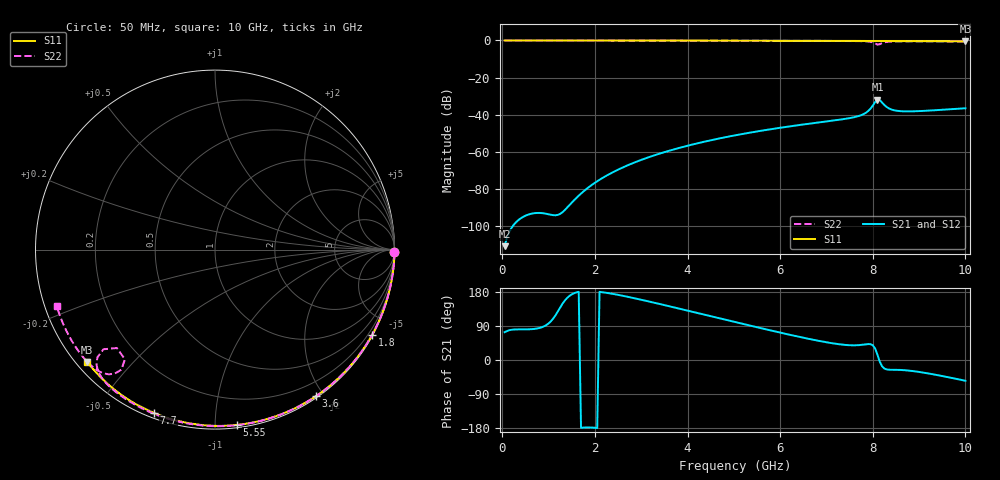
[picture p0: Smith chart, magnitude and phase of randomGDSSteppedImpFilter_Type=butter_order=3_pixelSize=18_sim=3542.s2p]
! freq	dB(S11)	phase(S11)	dB(S12)	phase(S12)
!  dB(S21)	phase(S21)	dB(S22)	phase(S22)
!S-par simulation data
#  GHz  S  DB  R 50
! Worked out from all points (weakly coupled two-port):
!   200 points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, 50 MHz to 10 GHz, reference 50 ohm
!   highest |S21| = -31.85 dB at 8.1 GHz (marker M1); lowest = -110.7 dB at 50 MHz (marker M2)
!   lowest |S11| = -0.5 dB at 10 GHz (marker M3), VSWR 37.18, Z = 1.54 - j18.9 ohm
!   |S11| at or under -10 dB: nowhere
!   |S22| runs from -2.2 to 0.0 dB; largest |S21 - S12| = 0
!   S11 on the Smith chart (normalised r, x): 50 MHz: open; 1.8 GHz: 0.03, -3.95; 3.6 GHz: 0.02, -1.90; 5.55 GHz: 0.02, -1.13; 7.7 GHz: 0.02, -0.69; 10 GHz: 0.03, -0.38
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0.05  -0.00 -0.8  -110.74 73.4  -110.74 73.4  -0.00 -0.9
0.85  -0.02 -13.6  -92.93 86.2  -92.93 86.2  -0.02 -15.5
1.75  -0.04 -27.7  -81.32 -178.3  -81.32 -178.3  -0.04 -31.7
1.8  -0.04 -28.4  -80.29 -178.0  -80.29 -178.0  -0.04 -32.5
2.15  -0.04 -33.8  -74.22 179.1  -74.22 179.1  -0.05 -38.7
2.5  -0.05 -39.2  -69.55 171.9  -69.55 171.9  -0.06 -44.8
3.4  -0.07 -52.6  -60.89 147.8  -60.89 147.8  -0.08 -60.1
3.6  -0.07 -55.5  -59.38 142.0  -59.38 142.0  -0.09 -63.5
4.3  -0.09 -65.6  -54.86 121.5  -54.86 121.5  -0.11 -74.9
5.05  -0.12 -76.1  -50.97 99.5  -50.97 99.5  -0.13 -86.9
5.55  -0.14 -82.8  -48.77 85.0  -48.77 85.0  -0.16 -94.7
6.7  -0.19 -98.0  -44.57 53.7  -44.57 53.7  -0.22 -112.5
7.7  -0.26 -110.6  -40.64 39.2  -40.64 39.2  -0.36 -129.2
7.85  -0.27 -112.5  -38.94 41.4  -38.94 41.4  -0.47 -132.7
8  -0.28 -114.3  -35.07 38.9  -35.07 38.9  -1.02 -137.5
8.1  -0.28 -115.5  -31.85 14.3  -31.85 14.3  -2.22 -134.9
8.15  -0.28 -116.1  -32.08 -4.3  -32.08 -4.3  -2.04 -129.4
8.2  -0.28 -116.7  -33.38 -16.6  -33.38 -16.6  -1.42 -128.0
8.35  -0.30 -118.6  -36.59 -25.7  -36.59 -25.7  -0.67 -131.8
8.5  -0.31 -120.5  -37.78 -25.9  -37.78 -25.9  -0.52 -135.4
8.75  -0.34 -123.5  -38.20 -27.6  -38.20 -27.6  -0.46 -140.1
10  -0.47 -138.6  -36.50 -54.8  -36.50 -54.8  -0.57 -160.2
